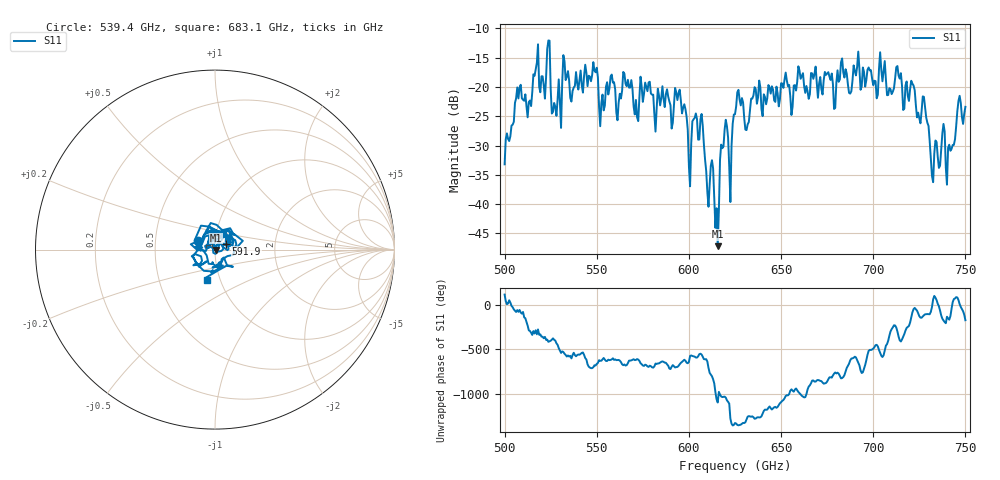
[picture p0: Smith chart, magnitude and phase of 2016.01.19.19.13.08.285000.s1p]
!Created with skrf (http://scikit-rf.org).
# GHz S RI R 50.0
!freq ReS11 ImS11
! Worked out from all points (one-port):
!   401 points, 500 GHz to 750 GHz, reference 50 ohm
!   lowest |S11| = -47.2 dB at 615.6 GHz (marker M1), VSWR 1.01, Z = 50.4 - j0.146 ohm
!   |S11| at or under -10 dB: start of sweep to end of sweep
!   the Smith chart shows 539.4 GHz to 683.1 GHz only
!   S11 on the Smith chart (normalised r, x): 539.4 GHz: 0.82, +0.08; 591.9 GHz: 1.13, +0.07; 683.1 GHz: 0.87, -0.30
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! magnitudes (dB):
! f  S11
! 500 GHz  -33.2
! 507.5 GHz  -22.0
! 513.1 GHz  -22.6
! 516.9 GHz  -17.0
! 520.6 GHz  -18.2
! 523.8 GHz  -12.1
! 526.9 GHz  -22.7
! 531.2 GHz  -19.3
! 539.4 GHz  -19.4
! 562.5 GHz  -21.2
! 565.6 GHz  -19.5
! 571.2 GHz  -22.2
! 591.9 GHz  -23.1
! 593.8 GHz  -22.2
! 600 GHz  -33.6
! 606.9 GHz  -24.6
! 610 GHz  -37.9
! 615.6 GHz  -47.2
! 618.8 GHz  -30.2
! 622.5 GHz  -39.6
! 625 GHz  -24.7
! 656.2 GHz  -23.4
! 683.1 GHz  -15.1
! 687.5 GHz  -21.1
! 718.8 GHz  -21.5
! 728.1 GHz  -23.4
! 731.9 GHz  -35.2
! 750 GHz  -23.4
